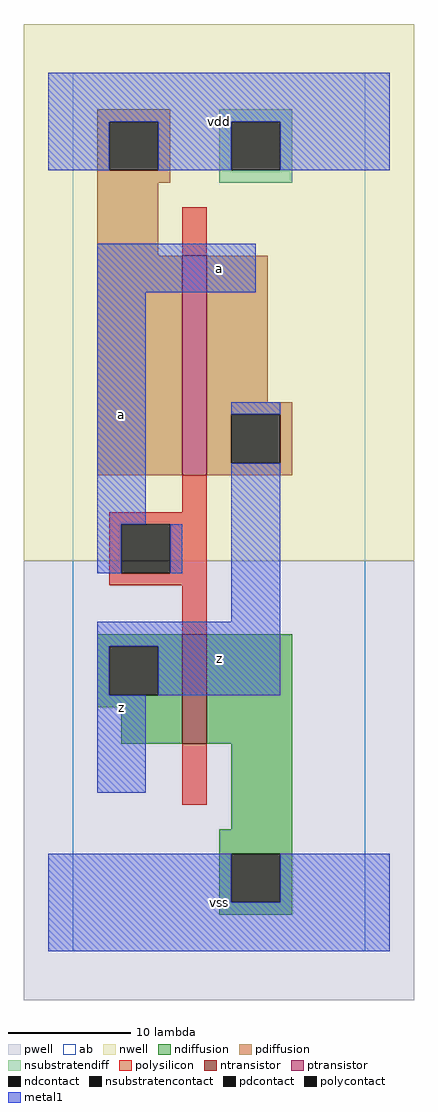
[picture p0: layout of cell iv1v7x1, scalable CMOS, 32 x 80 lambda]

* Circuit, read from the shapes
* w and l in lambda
.subckt iv1v7x1 a vdd vss z
M1 vss a z VSUBS nfet w=9 l=2
M2 z a vdd vdd pfet w=18 l=2
.ends

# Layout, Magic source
magic
tech scmos
<< ab >>
rect 0 0 24 72
<< pwell >>
rect -4 -4 28 32
<< nwell >>
rect -4 32 28 76
<< polysilicon >>
rect 9 57 11 61
rect 9 36 11 39
rect 3 35 11 36
rect 3 31 4 35
rect 8 31 11 35
rect 3 30 11 31
rect 9 26 11 30
rect 9 12 11 17
<< ndiffusion >>
rect 2 25 9 26
rect 2 21 3 25
rect 7 21 9 25
rect 2 20 9 21
rect 4 17 9 20
rect 11 17 18 26
rect 13 10 18 17
rect 12 8 18 10
rect 12 4 13 8
rect 17 4 18 8
rect 12 3 18 4
<< pdiffusion >>
rect 2 68 8 69
rect 2 64 3 68
rect 7 64 8 68
rect 2 63 8 64
rect 2 57 7 63
rect 2 39 9 57
rect 11 45 16 57
rect 11 44 18 45
rect 11 40 13 44
rect 17 40 18 44
rect 11 39 18 40
<< metal1 >>
rect -2 68 26 72
rect -2 64 3 68
rect 7 64 13 68
rect 17 64 26 68
rect 2 54 15 58
rect 2 35 6 54
rect 13 44 17 45
rect 2 31 4 35
rect 8 31 9 35
rect 13 27 17 40
rect 2 25 17 27
rect 2 21 3 25
rect 7 21 17 25
rect 2 13 6 21
rect -2 4 13 8
rect 17 4 26 8
rect -2 0 26 4
<< ntransistor >>
rect 9 17 11 26
<< ptransistor >>
rect 9 39 11 57
<< polycontact >>
rect 4 31 8 35
<< ndcontact >>
rect 3 21 7 25
rect 13 4 17 8
<< pdcontact >>
rect 3 64 7 68
rect 13 40 17 44
<< nsubstratencontact >>
rect 13 64 17 68
<< nsubstratendiff >>
rect 12 68 18 69
rect 12 64 13 68
rect 17 64 18 68
rect 12 63 18 64
<< labels >>
rlabel metal1 4 20 4 20 6 z
rlabel metal1 4 44 4 44 6 a
rlabel metal1 12 4 12 4 6 vss
rlabel metal1 12 24 12 24 6 z
rlabel metal1 12 56 12 56 6 a
rlabel metal1 12 68 12 68 6 vdd
<< end >>
